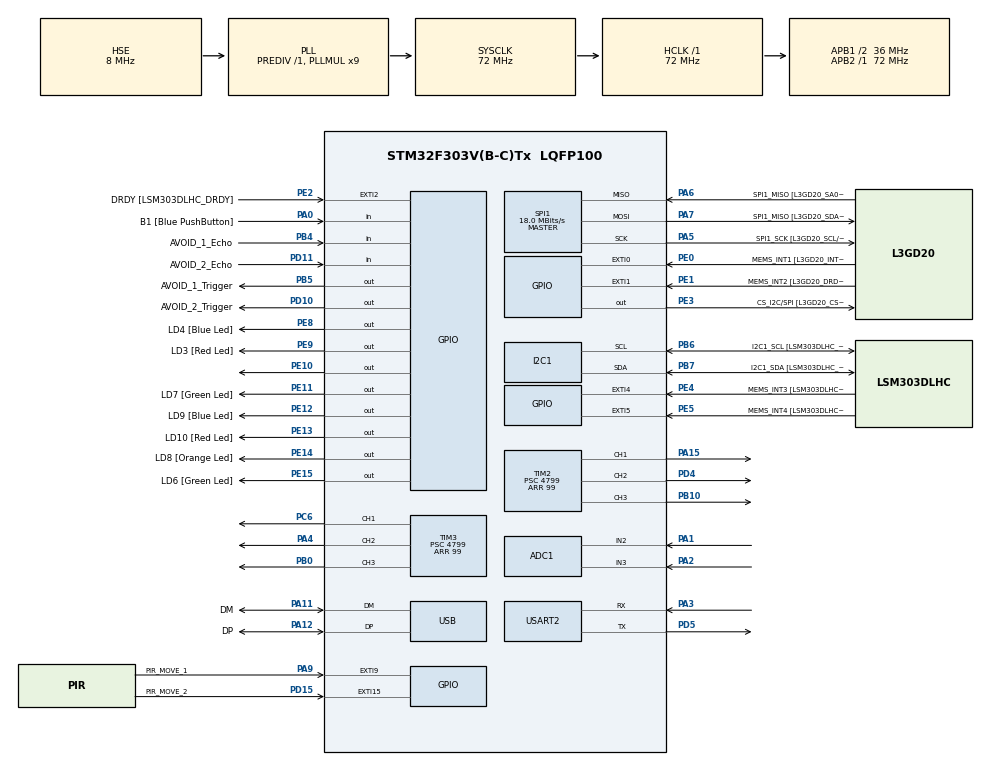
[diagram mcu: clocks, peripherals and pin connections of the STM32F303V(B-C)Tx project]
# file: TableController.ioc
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ADC1.Channel-1\#ChannelRegularConversion=ADC_CHANNEL_2
ADC1.NbrOfConversionFlag=1
ADC1.Offset-1\#ChannelRegularConversion=0
ADC1.OffsetNumber-1\#ChannelRegularConversion=ADC_OFFSET_NONE
ADC1.Rank-1\#ChannelRegularConversion=1
ADC1.SamplingTime-1\#ChannelRegularConversion=ADC_SAMPLETIME_601CYCLES_5
ADC1.master=1
FREERTOS.BinarySemaphores01=diffRxData,Dynamic,NULL;dataBufferSemaphore,Dynamic,NULL
FREERTOS.Mutexes01=diffBufferRead,Dynamic,NULL;AvoidDistance1,Dynamic,NULL;AvoidDistance2,Dynamic,NULL;pirTime1,Dynamic,NULL;pirTime2,Dynamic,NULL;uartTransmit,Dynamic,NULL
FREERTOS.Tasks01=defaultTask,24,128,StartDefaultTask,Default,NULL,Dynamic,NULL,NULL;uartRxDiff,40,200,uartRxDiff_f,Default,NULL,Dynamic,NULL,NULL;AvoidPIRHandler,40,128,AvoidPIRHandler_f,Default,NULL,Dynamic,NULL,NULL
I2C1.Timing-I2C=0x2000090E
Mcu.Family=STM32F3
Mcu.Name=STM32F303V(B-C)Tx
Mcu.Package=LQFP100
NVIC.EXTI15_10_IRQn=true\:5\:0\:false\:false\:true\:true\:true\:true\:true
NVIC.EXTI9_5_IRQn=true\:5\:0\:false\:false\:true\:true\:true\:true\:true
NVIC.PriorityGroup=NVIC_PRIORITYGROUP_4
NVIC.TIM1_UP_TIM16_IRQn=true\:15\:0\:false\:false\:true\:false\:false\:true\:true
NVIC.TimeBase=TIM1_UP_TIM16_IRQn
NVIC.TimeBaseIP=TIM1
NVIC.USART2_IRQn=true\:5\:0\:false\:false\:true\:true\:true\:true\:true
PA0.GPIO_Label=B1 [Blue PushButton]
PA0.Signal=GPIO_Input
PA1.Mode=IN2-Single-Ended
PA1.Signal=ADC1_IN2
PA11.GPIO_Label=DM
PA11.Mode=Device
PA11.Signal=USB_DM
PA12.GPIO_Label=DP
PA12.Mode=Device
PA12.Signal=USB_DP
PA13.GPIO_Label=SWDIO
PA13.Mode=Serial_Wire
PA13.Signal=SYS_JTMS-SWDIO
PA14.GPIO_Label=SWCLK
PA14.Mode=Serial_Wire
PA14.Signal=SYS_JTCK-SWCLK
PA15.Signal=S_TIM2_CH1_ETR
PA2.Mode=IN3-Single-Ended
PA2.Signal=ADC1_IN3
PA3.Mode=Asynchronous
PA3.Signal=USART2_RX
PA4.Signal=S_TIM3_CH2
PA5.GPIO_Label=SPI1_SCK [L3GD20_SCL/SPC]
PA5.Mode=Full_Duplex_Master
PA5.Signal=SPI1_SCK
PA6.GPIO_Label=SPI1_MISO [L3GD20_SA0/SDO]
PA6.Mode=Full_Duplex_Master
PA6.Signal=SPI1_MISO
PA7.GPIO_Label=SPI1_MISO [L3GD20_SDA/SDI/SDO]
PA7.Mode=Full_Duplex_Master
PA7.Signal=SPI1_MOSI
PA9.GPIO_Label=PIR_MOVE_1
PA9.GPIO_PuPd=GPIO_PULLDOWN
PA9.Signal=GPXTI9
PB0.Signal=S_TIM3_CH3
PB10.Signal=S_TIM2_CH3
PB3.GPIO_Label=SWO
PB3.Signal=SYS_JTDO-TRACESWO
PB4.GPIO_Label=AVOID_1_Echo
PB4.Signal=GPIO_Input
PB5.GPIO_Label=AVOID_1_Trigger
PB5.Signal=GPIO_Output
PB6.GPIO_Label=I2C1_SCL [LSM303DLHC_SCL]
PB6.GPIO_Pu=GPIO_PULLUP
PB6.Mode=I2C
PB6.Signal=I2C1_SCL
PB7.GPIO_Label=I2C1_SDA [LSM303DLHC_SDA]
PB7.GPIO_Pu=GPIO_PULLUP
PB7.Mode=I2C
PB7.Signal=I2C1_SDA
PC14-OSC32_IN.GPIO_Label=OSC32_IN
PC14-OSC32_IN.Signal=RCC_OSC32_IN
PC15-OSC32_OUT.GPIO_Label=OSC32_OUT
PC15-OSC32_OUT.Signal=RCC_OSC32_OUT
PC6.Signal=S_TIM3_CH1
PD10.GPIO_Label=AVOID_2_Trigger
PD10.Signal=GPIO_Output
PD11.GPIO_Label=AVOID_2_Echo
PD11.Signal=GPIO_Input
PD15.GPIO_Label=PIR_MOVE_2
PD15.GPIO_PuPd=GPIO_PULLDOWN
PD15.Signal=GPXTI15
PD4.Signal=S_TIM2_CH2
PD5.Mode=Asynchronous
PD5.Signal=USART2_TX
PE0.GPIO_Label=MEMS_INT1 [L3GD20_INT1]
PE0.GPIO_ModeDefaultEXTI=GPIO_MODE_EVT_RISING
PE0.Signal=GPXTI0
PE1.GPIO_Label=MEMS_INT2 [L3GD20_DRDY/INT2]
PE1.GPIO_ModeDefaultEXTI=GPIO_MODE_EVT_RISING
PE1.Signal=GPXTI1
PE10.Signal=GPIO_Output
PE11.GPIO_Label=LD7 [Green Led]
PE11.Signal=GPIO_Output
PE12.GPIO_Label=LD9 [Blue Led]
PE12.Signal=GPIO_Output
PE13.GPIO_Label=LD10 [Red Led]
PE13.Signal=GPIO_Output
PE14.GPIO_Label=LD8 [Orange Led]
PE14.Signal=GPIO_Output
PE15.GPIO_Label=LD6 [Green Led]
PE15.Signal=GPIO_Output
PE2.GPIO_Label=DRDY [LSM303DLHC_DRDY]
PE2.GPIO_ModeDefaultEXTI=GPIO_MODE_EVT_RISING
PE2.Signal=GPXTI2
PE3.GPIO_Label=CS_I2C/SPI [L3GD20_CS_I2C/SPI]
PE3.Signal=GPIO_Output
PE4.GPIO_Label=MEMS_INT3 [LSM303DLHC_INT1]
PE4.GPIO_ModeDefaultEXTI=GPIO_MODE_EVT_RISING
PE4.Signal=GPXTI4
PE5.GPIO_Label=MEMS_INT4 [LSM303DLHC_INT2]
PE5.GPIO_ModeDefaultEXTI=GPIO_MODE_EVT_RISING
PE5.Signal=GPXTI5
PE8.GPIO_Label=LD4 [Blue Led]
PE8.Signal=GPIO_Output
PE9.GPIO_Label=LD3 [Red Led]
PE9.Signal=GPIO_Output
PF0-OSC_IN.GPIO_Label=OSC_IN
PF0-OSC_IN.Mode=HSE-External-Clock-Source
PF0-OSC_IN.Signal=RCC_OSC_IN
PF1-OSC_OUT.GPIO_Label=OSC_OUT
PF1-OSC_OUT.Signal=RCC_OSC_OUT
ProjectManager.HeapSize=0x200
ProjectManager.StackSize=0x400
ProjectManager.TargetToolchain=STM32CubeIDE
RCC.AHBFreq_Value=72000000
RCC.APB1CLKDivider=RCC_HCLK_DIV2
RCC.APB1Freq_Value=36000000
RCC.APB1TimFreq_Value=72000000
RCC.APB2Freq_Value=72000000
RCC.APB2TimFreq_Value=72000000
RCC.CortexFreq_Value=72000000
RCC.HCLKFreq_Value=72000000
RCC.HSE_VALUE=8000000
RCC.HSI_VALUE=8000000
RCC.LSE_VALUE=32768
RCC.PLLMUL=RCC_PLL_MUL9
RCC.PRESCALERUSB=RCC_USBCLKSOURCE_PLL_DIV1_5
RCC.SYSCLKFreq_VALUE=72000000
RCC.SYSCLKSourceVirtual=RCC_SYSCLKSOURCE_PLLCLK
RCC.USBFreq_Value=48000000
SH.S_TIM2_CH1_ETR.0=TIM2_CH1,PWM Generation1 CH1
SH.S_TIM2_CH2.0=TIM2_CH2,PWM Generation2 CH2
SH.S_TIM2_CH3.0=TIM2_CH3,PWM Generation3 CH3
SH.S_TIM3_CH1.0=TIM3_CH1,PWM Generation1 CH1
SH.S_TIM3_CH2.0=TIM3_CH2,PWM Generation2 CH2
SH.S_TIM3_CH3.0=TIM3_CH3,PWM Generation3 CH3
SPI1.BaudRatePrescaler=SPI_BAUDRATEPRESCALER_4
SPI1.BaudRatePrescaler-Full_Duplex_Master=SPI_BAUDRATEPRESCALER_2
SPI1.CalculateBaudRate=18.0 MBits/s
SPI1.CalculateBaudRate-Full_Duplex_Master=24.0 MBits/s
SPI1.Direction=SPI_DIRECTION_2LINES
SPI1.Mode=SPI_MODE_MASTER
SPI1.Mode-Full_Duplex_Master=SPI_MODE_MASTER
SPI1.VirtualType=VM_MASTER
TIM2.Channel-PWM\ Generation1\ CH1=TIM_CHANNEL_1
TIM2.Channel-PWM\ Generation2\ CH2=TIM_CHANNEL_2
TIM2.Channel-PWM\ Generation3\ CH3=TIM_CHANNEL_3
TIM2.Period=99
TIM2.Prescaler=4799
TIM3.Channel-PWM\ Generation1\ CH1=TIM_CHANNEL_1
TIM3.Channel-PWM\ Generation2\ CH2=TIM_CHANNEL_2
TIM3.Channel-PWM\ Generation3\ CH3=TIM_CHANNEL_3
TIM3.Period=99
TIM3.Prescaler=4799
TIM4.Period=65535
TIM4.Prescaler=71
TIM8.Period=9999
TIM8.Prescaler=7199
USART2.VirtualMode-Asynchronous=VM_ASYNC
VP_FREERTOS_VS_CMSIS_V2.Mode=CMSIS_V2
VP_SYS_VS_tim1.Mode=TIM1
VP_TIM4_VS_ClockSourceINT.Mode=Internal
VP_TIM8_VS_ClockSourceINT.Mode=Internal
board=STM32F3DISCOVERY

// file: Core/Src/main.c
/* USER CODE BEGIN Header */
/**
  ******************************************************************************
  * @file           : main.c
  * @brief          : Main program body
  ******************************************************************************
  * @attention
  *
  * Copyright (c) 2024 STMicroelectronics.
  * All rights reserved.
  *
  * This software is licensed under terms that can be found in the LICENSE file
  * in the root directory of this software component.
  * If no LICENSE file comes with this software, it is provided AS-IS.
  *
  ******************************************************************************
  */
/* USER CODE END Header */
#include "main.h"
#include "cmsis_os.h"

/* USER CODE BEGIN Includes */
#include "Callbacks.h"

#include "Handler.h"
/* USER CODE END Includes */

/* USER CODE BEGIN PM */
uint32_t rawAVOID[2];
uint32_t rawAVOIDWindow[2][10];

uint8_t rawAVOIDWindow_idx = 0;
uint8_t maxSeats = 2;

uint32_t pirTime[2];
/* USER CODE END PM */

ADC_HandleTypeDef hadc1;

I2C_HandleTypeDef hi2c1;

SPI_HandleTypeDef hspi1;

TIM_HandleTypeDef htim2;
TIM_HandleTypeDef htim3;
TIM_HandleTypeDef htim4;
TIM_HandleTypeDef htim8;

UART_HandleTypeDef huart2;

PCD_HandleTypeDef hpcd_USB_FS;

/* Definitions for defaultTask */
osThreadId_t defaultTaskHandle;
const osThreadAttr_t defaultTask_attributes = {
  .name = "defaultTask",
  .stack_size = 128 * 4,
  .priority = (osPriority_t) osPriorityNormal,
};
/* Definitions for uartRxDiff */
osThreadId_t uartRxDiffHandle;
const osThreadAttr_t uartRxDiff_attributes = {
  .name = "uartRxDiff",
  .stack_size = 200 * 4,
  .priority = (osPriority_t) osPriorityHigh,
};
/* Definitions for AvoidPIRHandler */
osThreadId_t AvoidPIRHandlerHandle;
const osThreadAttr_t AvoidPIRHandler_attributes = {
  .name = "AvoidPIRHandler",
  .stack_size = 128 * 4,
  .priority = (osPriority_t) osPriorityHigh,
};
/* Definitions for diffBufferRead */
osMutexId_t diffBufferReadHandle;
const osMutexAttr_t diffBufferRead_attributes = {
  .name = "diffBufferRead"
};
/* Definitions for AvoidDistance1 */
osMutexId_t AvoidDistance1Handle;
const osMutexAttr_t AvoidDistance1_attributes = {
  .name = "AvoidDistance1"
};
/* Definitions for AvoidDistance2 */
osMutexId_t AvoidDistance2Handle;
const osMutexAttr_t AvoidDistance2_attributes = {
  .name = "AvoidDistance2"
};
/* Definitions for pirTime1 */
osMutexId_t pirTime1Handle;
const osMutexAttr_t pirTime1_attributes = {
  .name = "pirTime1"
};
/* Definitions for pirTime2 */
osMutexId_t pirTime2Handle;
const osMutexAttr_t pirTime2_attributes = {
  .name = "pirTime2"
};
/* Definitions for uartTransmit */
osMutexId_t uartTransmitHandle;
const osMutexAttr_t uartTransmit_attributes = {
  .name = "uartTransmit"
};
/* Definitions for diffRxData */
osSemaphoreId_t diffRxDataHandle;
const osSemaphoreAttr_t diffRxData_attributes = {
  .name = "diffRxData"
};
/* Definitions for dataBufferSemaphore */
osSemaphoreId_t dataBufferSemaphoreHandle;
const osSemaphoreAttr_t dataBufferSemaphore_attributes = {
  .name = "dataBufferSemaphore"
};

void SystemClock_Config(void);
static void MX_GPIO_Init(void);
static void MX_I2C1_Init(void);
static void MX_SPI1_Init(void);
static void MX_USB_PCD_Init(void);
static void MX_USART2_UART_Init(void);
static void MX_TIM2_Init(void);
static void MX_TIM3_Init(void);
static void MX_ADC1_Init(void);
static void MX_TIM4_Init(void);
static void MX_TIM8_Init(void);
void StartDefaultTask(void *argument);
void uartRxDiff_f(void *argument);
void AvoidPIRHandler_f(void *argument);

/* USER CODE BEGIN 0 */
char data[150];
char data_c;
uint8_t data_c_idx = 0;

void setADC1Configs(uint8_t channel) {
	ADC_ChannelConfTypeDef sConfig;

	switch (channel) {
		case 2:
			sConfig.Channel = ADC_CHANNEL_2; // ADC Channel
			sConfig.Rank = 1; //Rank (1-16) Rank: The rank in the regular group sequencer.
			sConfig.SamplingTime = ADC_SAMPLETIME_601CYCLES_5; //ADC Sampling Times
			sConfig.Offset = 0; // Reserved
			break;
		case 3:
			sConfig.Channel = ADC_CHANNEL_3;
			sConfig.Rank = 1;
			sConfig.SamplingTime = ADC_SAMPLETIME_601CYCLES_5;
			sConfig.Offset = 0;
			break;
	}

	if (HAL_ADC_ConfigChannel(&hadc1, &sConfig) == HAL_OK) {
		HAL_ADC_Start(&hadc1);
		HAL_ADC_PollForConversion(&hadc1, 1000);
	}

}

int compare(const void* a, const void* b) {
    int A = *((int*)a);
    int B = *((int*)b);
    return A - B;
}

void selectionSort(int arr[], int n) {
    int i, j, minIndex, tmp;

    // One by one move boundary of unsorted subarray
    for (i = 0; i < n - 1; i++) {
        // Find the minimum element in unsorted array
        minIndex = i;
        for (j = i + 1; j < n; j++)
            if (arr[j] < arr[minIndex])
                minIndex = j;

        // Swap the found minimum element with the first element of the unsorted array
        tmp = arr[minIndex];
        arr[minIndex] = arr[i];
        arr[i] = tmp;
    }
}

double getMedian(int arr[], int n) {
    // Sorting the array
	selectionSort(arr, n);

    // If size of the array is even
    if (n % 2 != 0)
        return (double)arr[n/2];

    // If size of the array is odd
    return (double)(arr[(n-1)/2] + arr[n/2])/2.0;
}

/* USER CODE END 0 */

int main(void)
{

  /* MCU Configuration--------------------------------------------------------*/

  /* Reset of all peripherals, Initializes the Flash interface and the Systick. */
  HAL_Init();

  /* Configure the system clock */
  SystemClock_Config();

  /* Initialize all configured peripherals */
  MX_GPIO_Init();
  MX_I2C1_Init();
  MX_SPI1_Init();
  MX_USB_PCD_Init();
  MX_USART2_UART_Init();
  MX_TIM2_Init();
  MX_TIM3_Init();
  MX_ADC1_Init();
  MX_TIM4_Init();
  MX_TIM8_Init();
  /* USER CODE BEGIN 2 */
  HAL_UART_Receive_IT(&huart2, &data_c, 1);

//  HAL_ADC_Start(&hadc1);
//  HAL_ADC_Start_DMA(&hadc1, rawAVOID, 2);
//  setADC1Configs(2);
//  HAL_ADC_Start(&hadc1);
//
//  setADC1Configs(3);
//  HAL_ADC_Start(&hadc1);
//  setADC1Configs();
  HAL_TIM_Base_Start(&htim4);
  HAL_TIM_Base_Start(&htim8);

  HAL_GPIO_WritePin(GPIOB, GPIO_PIN_5, 0);

  HAL_TIM_PWM_Start(&htim2, TIM_CHANNEL_1);
  HAL_TIM_PWM_Start(&htim2, TIM_CHANNEL_2);
  HAL_TIM_PWM_Start(&htim2, TIM_CHANNEL_3);

  HAL_TIM_PWM_Start(&htim3, TIM_CHANNEL_1);
  HAL_TIM_PWM_Start(&htim3, TIM_CHANNEL_2);
  HAL_TIM_PWM_Start(&htim3, TIM_CHANNEL_3);

  __HAL_TIM_SET_COMPARE(&htim2, TIM_CHANNEL_1, 0);
  __HAL_TIM_SET_COMPARE(&htim2, TIM_CHANNEL_2, 0);
  __HAL_TIM_SET_COMPARE(&htim2, TIM_CHANNEL_3, 0);

  __HAL_TIM_SET_COMPARE(&htim3, TIM_CHANNEL_1, 0);
  __HAL_TIM_SET_COMPARE(&htim3, TIM_CHANNEL_2, 0);
  __HAL_TIM_SET_COMPARE(&htim3, TIM_CHANNEL_3, 0);
  /* USER CODE END 2 */

  /* Init scheduler */
  osKernelInitialize();
  /* Create the mutex(es) */
  /* creation of diffBufferRead */
  diffBufferReadHandle = osMutexNew(&diffBufferRead_attributes);

  /* creation of AvoidDistance1 */
  AvoidDistance1Handle = osMutexNew(&AvoidDistance1_attributes);

  /* creation of AvoidDistance2 */
  AvoidDistance2Handle = osMutexNew(&AvoidDistance2_attributes);

  /* creation of pirTime1 */
  pirTime1Handle = osMutexNew(&pirTime1_attributes);

  /* creation of pirTime2 */
  pirTime2Handle = osMutexNew(&pirTime2_attributes);

  /* creation of uartTransmit */
  uartTransmitHandle = osMutexNew(&uartTransmit_attributes);

  /* Create the semaphores(s) */
  /* creation of diffRxData */
  diffRxDataHandle = osSemaphoreNew(1, 1, &diffRxData_attributes);

  /* creation of dataBufferSemaphore */
  dataBufferSemaphoreHandle = osSemaphoreNew(1, 1, &dataBufferSemaphore_attributes);

  /* Create the thread(s) */
  /* creation of defaultTask */
  defaultTaskHandle = osThreadNew(StartDefaultTask, NULL, &defaultTask_attributes);

  /* creation of uartRxDiff */
  uartRxDiffHandle = osThreadNew(uartRxDiff_f, NULL, &uartRxDiff_attributes);

  /* creation of AvoidPIRHandler */
  AvoidPIRHandlerHandle = osThreadNew(AvoidPIRHandler_f, NULL, &AvoidPIRHandler_attributes);

  /* Start scheduler */
  osKernelStart();

  /* We should never get here as control is now taken by the scheduler */
  /* Infinite loop */
  while (1)
  {

  }
}

void SystemClock_Config(void)
{
  RCC_OscInitTypeDef RCC_OscInitStruct = {0};
  RCC_ClkInitTypeDef RCC_ClkInitStruct = {0};
  RCC_PeriphCLKInitTypeDef PeriphClkInit = {0};

  /** Initializes the RCC Oscillators according to the specified parameters
  * in the RCC_OscInitTypeDef structure.
  */
  RCC_OscInitStruct.OscillatorType = RCC_OSCILLATORTYPE_HSI|RCC_OSCILLATORTYPE_HSE;
  RCC_OscInitStruct.HSEState = RCC_HSE_BYPASS;
  RCC_OscInitStruct.HSEPredivValue = RCC_HSE_PREDIV_DIV1;
  RCC_OscInitStruct.HSIState = RCC_HSI_ON;
  RCC_OscInitStruct.HSICalibrationValue = RCC_HSICALIBRATION_DEFAULT;
  RCC_OscInitStruct.PLL.PLLState = RCC_PLL_ON;
  RCC_OscInitStruct.PLL.PLLSource = RCC_PLLSOURCE_HSE;
  RCC_OscInitStruct.PLL.PLLMUL = RCC_PLL_MUL9;
  if (HAL_RCC_OscConfig(&RCC_OscInitStruct) != HAL_OK)
  {
    Error_Handler();
  }

  /** Initializes the CPU, AHB and APB buses clocks
  */
  RCC_ClkInitStruct.ClockType = RCC_CLOCKTYPE_HCLK|RCC_CLOCKTYPE_SYSCLK
                              |RCC_CLOCKTYPE_PCLK1|RCC_CLOCKTYPE_PCLK2;
  RCC_ClkInitStruct.SYSCLKSource = RCC_SYSCLKSOURCE_PLLCLK;
  RCC_ClkInitStruct.AHBCLKDivider = RCC_SYSCLK_DIV1;
  RCC_ClkInitStruct.APB1CLKDivider = RCC_HCLK_DIV2;
  RCC_ClkInitStruct.APB2CLKDivider = RCC_HCLK_DIV1;

  if (HAL_RCC_ClockConfig(&RCC_ClkInitStruct, FLASH_LATENCY_2) != HAL_OK)
  {
    Error_Handler();
  }
  PeriphClkInit.PeriphClockSelection = RCC_PERIPHCLK_USB|RCC_PERIPHCLK_USART2
                              |RCC_PERIPHCLK_I2C1|RCC_PERIPHCLK_TIM8
                              |RCC_PERIPHCLK_ADC12;
  PeriphClkInit.Usart2ClockSelection = RCC_USART2CLKSOURCE_PCLK1;
  PeriphClkInit.Adc12ClockSelection = RCC_ADC12PLLCLK_DIV1;
  PeriphClkInit.I2c1ClockSelection = RCC_I2C1CLKSOURCE_HSI;
  PeriphClkInit.USBClockSelection = RCC_USBCLKSOURCE_PLL_DIV1_5;
  PeriphClkInit.Tim8ClockSelection = RCC_TIM8CLK_HCLK;
  if (HAL_RCCEx_PeriphCLKConfig(&PeriphClkInit) != HAL_OK)
  {
    Error_Handler();
  }
}

static void MX_ADC1_Init(void)
{

  ADC_MultiModeTypeDef multimode = {0};
  ADC_ChannelConfTypeDef sConfig = {0};

  /** Common config
  */
  hadc1.Instance = ADC1;
  hadc1.Init.ClockPrescaler = ADC_CLOCK_ASYNC_DIV1;
  hadc1.Init.Resolution = ADC_RESOLUTION_12B;
  hadc1.Init.ScanConvMode = ADC_SCAN_DISABLE;
  hadc1.Init.ContinuousConvMode = DISABLE;
  hadc1.Init.DiscontinuousConvMode = DISABLE;
  hadc1.Init.ExternalTrigConvEdge = ADC_EXTERNALTRIGCONVEDGE_NONE;
  hadc1.Init.ExternalTrigConv = ADC_SOFTWARE_START;
  hadc1.Init.DataAlign = ADC_DATAALIGN_RIGHT;
  hadc1.Init.NbrOfConversion = 1;
  hadc1.Init.DMAContinuousRequests = DISABLE;
  hadc1.Init.EOCSelection = ADC_EOC_SINGLE_CONV;
  hadc1.Init.LowPowerAutoWait = DISABLE;
  hadc1.Init.Overrun = ADC_OVR_DATA_OVERWRITTEN;
  if (HAL_ADC_Init(&hadc1) != HAL_OK)
  {
    Error_Handler();
  }

  /** Configure the ADC multi-mode
  */
  multimode.Mode = ADC_MODE_INDEPENDENT;
  if (HAL_ADCEx_MultiModeConfigChannel(&hadc1, &multimode) != HAL_OK)
  {
    Error_Handler();
  }

  /** Configure Regular Channel
  */
  sConfig.Channel = ADC_CHANNEL_2;
  sConfig.Rank = ADC_REGULAR_RANK_1;
  sConfig.SingleDiff = ADC_SINGLE_ENDED;
  sConfig.SamplingTime = ADC_SAMPLETIME_601CYCLES_5;
  sConfig.OffsetNumber = ADC_OFFSET_NONE;
  sConfig.Offset = 0;
  if (HAL_ADC_ConfigChannel(&hadc1, &sConfig) != HAL_OK)
  {
    Error_Handler();
  }

}

static void MX_I2C1_Init(void)
{

  hi2c1.Instance = I2C1;
  hi2c1.Init.Timing = 0x2000090E;
  hi2c1.Init.OwnAddress1 = 0;
  hi2c1.Init.AddressingMode = I2C_ADDRESSINGMODE_7BIT;
  hi2c1.Init.DualAddressMode = I2C_DUALADDRESS_DISABLE;
  hi2c1.Init.OwnAddress2 = 0;
  hi2c1.Init.OwnAddress2Masks = I2C_OA2_NOMASK;
  hi2c1.Init.GeneralCallMode = I2C_GENERALCALL_DISABLE;
  hi2c1.Init.NoStretchMode = I2C_NOSTRETCH_DISABLE;
  if (HAL_I2C_Init(&hi2c1) != HAL_OK)
  {
    Error_Handler();
  }

  /** Configure Analogue filter
  */
  if (HAL_I2CEx_ConfigAnalogFilter(&hi2c1, I2C_ANALOGFILTER_ENABLE) != HAL_OK)
  {
    Error_Handler();
  }

  /** Configure Digital filter
  */
  if (HAL_I2CEx_ConfigDigitalFilter(&hi2c1, 0) != HAL_OK)
  {
    Error_Handler();
  }

}

static void MX_SPI1_Init(void)
{

  /* SPI1 parameter configuration*/
  hspi1.Instance = SPI1;
  hspi1.Init.Mode = SPI_MODE_MASTER;
  hspi1.Init.Direction = SPI_DIRECTION_2LINES;
  hspi1.Init.DataSize = SPI_DATASIZE_4BIT;
  hspi1.Init.CLKPolarity = SPI_POLARITY_LOW;
  hspi1.Init.CLKPhase = SPI_PHASE_1EDGE;
  hspi1.Init.NSS = SPI_NSS_SOFT;
  hspi1.Init.BaudRatePrescaler = SPI_BAUDRATEPRESCALER_4;
  hspi1.Init.FirstBit = SPI_FIRSTBIT_MSB;
  hspi1.Init.TIMode = SPI_TIMODE_DISABLE;
  hspi1.Init.CRCCalculation = SPI_CRCCALCULATION_DISABLE;
  hspi1.Init.CRCPolynomial = 7;
  hspi1.Init.CRCLength = SPI_CRC_LENGTH_DATASIZE;
  hspi1.Init.NSSPMode = SPI_NSS_PULSE_ENABLE;
  if (HAL_SPI_Init(&hspi1) != HAL_OK)
  {
    Error_Handler();
  }

}

static void MX_TIM2_Init(void)
{

  TIM_MasterConfigTypeDef sMasterConfig = {0};
  TIM_OC_InitTypeDef sConfigOC = {0};

  htim2.Instance = TIM2;
  htim2.Init.Prescaler = 4799;
  htim2.Init.CounterMode = TIM_COUNTERMODE_UP;
  htim2.Init.Period = 99;
  htim2.Init.ClockDivision = TIM_CLOCKDIVISION_DIV1;
  htim2.Init.AutoReloadPreload = TIM_AUTORELOAD_PRELOAD_DISABLE;
  if (HAL_TIM_PWM_Init(&htim2) != HAL_OK)
  {
    Error_Handler();
  }
  sMasterConfig.MasterOutputTrigger = TIM_TRGO_RESET;
  sMasterConfig.MasterSlaveMode = TIM_MASTERSLAVEMODE_DISABLE;
  if (HAL_TIMEx_MasterConfigSynchronization(&htim2, &sMasterConfig) != HAL_OK)
  {
    Error_Handler();
  }
  sConfigOC.OCMode = TIM_OCMODE_PWM1;
  sConfigOC.Pulse = 0;
  sConfigOC.OCPolarity = TIM_OCPOLARITY_HIGH;
  sConfigOC.OCFastMode = TIM_OCFAST_DISABLE;
  if (HAL_TIM_PWM_ConfigChannel(&htim2, &sConfigOC, TIM_CHANNEL_1) != HAL_OK)
  {
    Error_Handler();
  }
  if (HAL_TIM_PWM_ConfigChannel(&htim2, &sConfigOC, TIM_CHANNEL_2) != HAL_OK)
  {
    Error_Handler();
  }
  if (HAL_TIM_PWM_ConfigChannel(&htim2, &sConfigOC, TIM_CHANNEL_3) != HAL_OK)
  {
    Error_Handler();
  }
  HAL_TIM_MspPostInit(&htim2);

}

static void MX_TIM3_Init(void)
{

  TIM_MasterConfigTypeDef sMasterConfig = {0};
  TIM_OC_InitTypeDef sConfigOC = {0};

  htim3.Instance = TIM3;
  htim3.Init.Prescaler = 4799;
  htim3.Init.CounterMode = TIM_COUNTERMODE_UP;
  htim3.Init.Period = 99;
  htim3.Init.ClockDivision = TIM_CLOCKDIVISION_DIV1;
  htim3.Init.AutoReloadPreload = TIM_AUTORELOAD_PRELOAD_DISABLE;
  if (HAL_TIM_PWM_Init(&htim3) != HAL_OK)
  {
    Error_Handler();
  }
  sMasterConfig.MasterOutputTrigger = TIM_TRGO_RESET;
  sMasterConfig.MasterSlaveMode = TIM_MASTERSLAVEMODE_DISABLE;
  if (HAL_TIMEx_MasterConfigSynchronization(&htim3, &sMasterConfig) != HAL_OK)
  {
    Error_Handler();
  }
  sConfigOC.OCMode = TIM_OCMODE_PWM1;
  sConfigOC.Pulse = 0;
  sConfigOC.OCPolarity = TIM_OCPOLARITY_HIGH;
  sConfigOC.OCFastMode = TIM_OCFAST_DISABLE;
  if (HAL_TIM_PWM_ConfigChannel(&htim3, &sConfigOC, TIM_CHANNEL_1) != HAL_OK)
  {
    Error_Handler();
  }
  if (HAL_TIM_PWM_ConfigChannel(&htim3, &sConfigOC, TIM_CHANNEL_2) != HAL_OK)
  {
    Error_Handler();
  }
  if (HAL_TIM_PWM_ConfigChannel(&htim3, &sConfigOC, TIM_CHANNEL_3) != HAL_OK)
  {
    Error_Handler();
  }
  HAL_TIM_MspPostInit(&htim3);

}

static void MX_TIM4_Init(void)
{

  TIM_ClockConfigTypeDef sClockSourceConfig = {0};
  TIM_MasterConfigTypeDef sMasterConfig = {0};

  htim4.Instance = TIM4;
  htim4.Init.Prescaler = 71;
  htim4.Init.CounterMode = TIM_COUNTERMODE_UP;
  htim4.Init.Period = 65535;
  htim4.Init.ClockDivision = TIM_CLOCKDIVISION_DIV1;
  htim4.Init.AutoReloadPreload = TIM_AUTORELOAD_PRELOAD_DISABLE;
  if (HAL_TIM_Base_Init(&htim4) != HAL_OK)
  {
    Error_Handler();
  }
  sClockSourceConfig.ClockSource = TIM_CLOCKSOURCE_INTERNAL;
  if (HAL_TIM_ConfigClockSource(&htim4, &sClockSourceConfig) != HAL_OK)
  {
    Error_Handler();
  }
  sMasterConfig.MasterOutputTrigger = TIM_TRGO_RESET;
  sMasterConfig.MasterSlaveMode = TIM_MASTERSLAVEMODE_DISABLE;
  if (HAL_TIMEx_MasterConfigSynchronization(&htim4, &sMasterConfig) != HAL_OK)
  {
    Error_Handler();
  }

}

static void MX_TIM8_Init(void)
{

  TIM_ClockConfigTypeDef sClockSourceConfig = {0};
  TIM_MasterConfigTypeDef sMasterConfig = {0};

  htim8.Instance = TIM8;
  htim8.Init.Prescaler = 7199;
  htim8.Init.CounterMode = TIM_COUNTERMODE_UP;
  htim8.Init.Period = 9999;
  htim8.Init.ClockDivision = TIM_CLOCKDIVISION_DIV1;
  htim8.Init.RepetitionCounter = 0;
  htim8.Init.AutoReloadPreload = TIM_AUTORELOAD_PRELOAD_DISABLE;
  if (HAL_TIM_Base_Init(&htim8) != HAL_OK)
  {
    Error_Handler();
  }
  sClockSourceConfig.ClockSource = TIM_CLOCKSOURCE_INTERNAL;
  if (HAL_TIM_ConfigClockSource(&htim8, &sClockSourceConfig) != HAL_OK)
  {
    Error_Handler();
  }
  sMasterConfig.MasterOutputTrigger = TIM_TRGO_RESET;
  sMasterConfig.MasterOutputTrigger2 = TIM_TRGO2_RESET;
  sMasterConfig.MasterSlaveMode = TIM_MASTERSLAVEMODE_DISABLE;
  if (HAL_TIMEx_MasterConfigSynchronization(&htim8, &sMasterConfig) != HAL_OK)
  {
    Error_Handler();
  }

}

static void MX_USART2_UART_Init(void)
{

  huart2.Instance = USART2;
  huart2.Init.BaudRate = 38400;
  huart2.Init.WordLength = UART_WORDLENGTH_8B;
  huart2.Init.StopBits = UART_STOPBITS_1;
  huart2.Init.Parity = UART_PARITY_NONE;
  huart2.Init.Mode = UART_MODE_TX_RX;
  huart2.Init.HwFlowCtl = UART_HWCONTROL_NONE;
  huart2.Init.OverSampling = UART_OVERSAMPLING_16;
  huart2.Init.OneBitSampling = UART_ONE_BIT_SAMPLE_DISABLE;
  huart2.AdvancedInit.AdvFeatureInit = UART_ADVFEATURE_NO_INIT;
  if (HAL_UART_Init(&huart2) != HAL_OK)
  {
    Error_Handler();
  }

}

static void MX_USB_PCD_Init(void)
{

  hpcd_USB_FS.Instance = USB;
  hpcd_USB_FS.Init.dev_endpoints = 8;
  hpcd_USB_FS.Init.speed = PCD_SPEED_FULL;
  hpcd_USB_FS.Init.phy_itface = PCD_PHY_EMBEDDED;
  hpcd_USB_FS.Init.low_power_enable = DISABLE;
  hpcd_USB_FS.Init.battery_charging_enable = DISABLE;
  if (HAL_PCD_Init(&hpcd_USB_FS) != HAL_OK)
  {
    Error_Handler();
  }

}

static void MX_GPIO_Init(void)
{
  GPIO_InitTypeDef GPIO_InitStruct = {0};

  /* GPIO Ports Clock Enable */
  __HAL_RCC_GPIOE_CLK_ENABLE();
  __HAL_RCC_GPIOC_CLK_ENABLE();
  __HAL_RCC_GPIOF_CLK_ENABLE();
  __HAL_RCC_GPIOA_CLK_ENABLE();
  __HAL_RCC_GPIOB_CLK_ENABLE();
  __HAL_RCC_GPIOD_CLK_ENABLE();

  /*Configure GPIO pin Output Level */
  HAL_GPIO_WritePin(GPIOE, CS_I2C_SPI_Pin|LD4_Pin|LD3_Pin|GPIO_PIN_10
                          |LD7_Pin|LD9_Pin|LD10_Pin|LD8_Pin
                          |LD6_Pin, GPIO_PIN_RESET);

  /*Configure GPIO pin Output Level */
  HAL_GPIO_WritePin(AVOID_2_Trigger_GPIO_Port, AVOID_2_Trigger_Pin, GPIO_PIN_RESET);

  /*Configure GPIO pin Output Level */
  HAL_GPIO_WritePin(AVOID_1_Trigger_GPIO_Port, AVOID_1_Trigger_Pin, GPIO_PIN_RESET);

  /*Configure GPIO pins : DRDY_Pin MEMS_INT3_Pin MEMS_INT4_Pin MEMS_INT1_Pin
                           MEMS_INT2_Pin */
  GPIO_InitStruct.Pin = DRDY_Pin|MEMS_INT3_Pin|MEMS_INT4_Pin|MEMS_INT1_Pin
                          |MEMS_INT2_Pin;
  GPIO_InitStruct.Mode = GPIO_MODE_EVT_RISING;
  GPIO_InitStruct.Pull = GPIO_NOPULL;
  HAL_GPIO_Init(GPIOE, &GPIO_InitStruct);

  /*Configure GPIO pins : CS_I2C_SPI_Pin LD4_Pin LD3_Pin PE10
                           LD7_Pin LD9_Pin LD10_Pin LD8_Pin
                           LD6_Pin */
  GPIO_InitStruct.Pin = CS_I2C_SPI_Pin|LD4_Pin|LD3_Pin|GPIO_PIN_10
                          |LD7_Pin|LD9_Pin|LD10_Pin|LD8_Pin
                          |LD6_Pin;
  GPIO_InitStruct.Mode = GPIO_MODE_OUTPUT_PP;
  GPIO_InitStruct.Pull = GPIO_NOPULL;
  GPIO_InitStruct.Speed = GPIO_SPEED_FREQ_LOW;
  HAL_GPIO_Init(GPIOE, &GPIO_InitStruct);

  /*Configure GPIO pin : B1_Pin */
  GPIO_InitStruct.Pin = B1_Pin;
  GPIO_InitStruct.Mode = GPIO_MODE_INPUT;
  GPIO_InitStruct.Pull = GPIO_NOPULL;
  HAL_GPIO_Init(B1_GPIO_Port, &GPIO_InitStruct);

  /*Configure GPIO pin : AVOID_2_Trigger_Pin */
  GPIO_InitStruct.Pin = AVOID_2_Trigger_Pin;
  GPIO_InitStruct.Mode = GPIO_MODE_OUTPUT_PP;
  GPIO_InitStruct.Pull = GPIO_NOPULL;
  GPIO_InitStruct.Speed = GPIO_SPEED_FREQ_LOW;
  HAL_GPIO_Init(AVOID_2_Trigger_GPIO_Port, &GPIO_InitStruct);

  /*Configure GPIO pin : AVOID_2_Echo_Pin */
  GPIO_InitStruct.Pin = AVOID_2_Echo_Pin;
  GPIO_InitStruct.Mode = GPIO_MODE_INPUT;
  GPIO_InitStruct.Pull = GPIO_NOPULL;
  HAL_GPIO_Init(AVOID_2_Echo_GPIO_Port, &GPIO_InitStruct);

  /*Configure GPIO pin : PIR_MOVE_2_Pin */
  GPIO_InitStruct.Pin = PIR_MOVE_2_Pin;
  GPIO_InitStruct.Mode = GPIO_MODE_IT_RISING;
  GPIO_InitStruct.Pull = GPIO_PULLDOWN;
  HAL_GPIO_Init(PIR_MOVE_2_GPIO_Port, &GPIO_InitStruct);

  /*Configure GPIO pin : PIR_MOVE_1_Pin */
  GPIO_InitStruct.Pin = PIR_MOVE_1_Pin;
  GPIO_InitStruct.Mode = GPIO_MODE_IT_RISING;
  GPIO_InitStruct.Pull = GPIO_PULLDOWN;
  HAL_GPIO_Init(PIR_MOVE_1_GPIO_Port, &GPIO_InitStruct);

  /*Configure GPIO pin : AVOID_1_Echo_Pin */
  GPIO_InitStruct.Pin = AVOID_1_Echo_Pin;
  GPIO_InitStruct.Mode = GPIO_MODE_INPUT;
  GPIO_InitStruct.Pull = GPIO_NOPULL;
  HAL_GPIO_Init(AVOID_1_Echo_GPIO_Port, &GPIO_InitStruct);

  /*Configure GPIO pin : AVOID_1_Trigger_Pin */
  GPIO_InitStruct.Pin = AVOID_1_Trigger_Pin;
  GPIO_InitStruct.Mode = GPIO_MODE_OUTPUT_PP;
  GPIO_InitStruct.Pull = GPIO_NOPULL;
  GPIO_InitStruct.Speed = GPIO_SPEED_FREQ_LOW;
  HAL_GPIO_Init(AVOID_1_Trigger_GPIO_Port, &GPIO_InitStruct);

  /* EXTI interrupt init*/
  HAL_NVIC_SetPriority(EXTI9_5_IRQn, 5, 0);
  HAL_NVIC_EnableIRQ(EXTI9_5_IRQn);

  HAL_NVIC_SetPriority(EXTI15_10_IRQn, 5, 0);
  HAL_NVIC_EnableIRQ(EXTI15_10_IRQn);

}

/* USER CODE BEGIN 4 */
int buffer_valid() {
	osMutexAcquire(diffBufferReadHandle, portMAX_DELAY);
	int res = data_c_idx == 0 && strlen(data) > 0;
	osMutexRelease(diffBufferReadHandle);
	return res;
}
/* USER CODE END 4 */

void StartDefaultTask(void *argument)
{
  /* USER CODE BEGIN 5 */
  /* Infinite loop */
  for(;;)
  {
//	if (buffer_valid()) {
//		osMutexAcquire(diffBufferReadHandle, portMAX_DELAY);
//		HAL_UART_Transmit_DMA(&huart2, data, strlen(data));
//		osMutexRelease(diffBufferReadHandle);
//	}
//	osMutexAcquire(mutex_id, timeout)
    osDelay(1);
  }
  /* USER CODE END 5 */
}

void uartRxDiff_f(void *argument)
{
  /* USER CODE BEGIN uartRxDiff_f */
  /* Infinite loop */
  char d[150];
  for(;;)
  {
	osSemaphoreAcquire(diffRxDataHandle, portMAX_DELAY);
//	HAL_GPIO_TogglePin(GPIOE, GPIO_PIN_10);

	addToHandler(data);

//	sprintf(d, "%d", strlen(data));
//	HAL_UART_Transmit_DMA(&huart2, data, (uint16_t)(strlen(data)));
//	HAL_UART_Transmit_DMA(&huart2, &data_c, 1);
//	data[data_c_idx] = data_c;
//	data_c_idx++;
//	if (data_c == '\r') {
//		data_c_idx = 0;
//		data[data_c_idx] = '\0';
////		HAL_UART_Transmit_DMA(&huart2, data, strlen(data));
//	}
    osDelay(1);
  }
  /* USER CODE END uartRxDiff_f */
}

void AvoidPIRHandler_f(void *argument)
{
  /* USER CODE BEGIN AvoidPIRHandler_f */
  /* Infinite loop */

  for(;;)
  {
//	  uint32_t c2Val, c3Val;
//
//	  setADC1Configs(2);
//	  c2Val = HAL_ADC_GetValue(&hadc1);
//
	  /// Getting tof from ultrasonic

	  char tmp[80];

	  //// End of getting tof from ultrasonic

	  HAL_GPIO_TogglePin(GPIOE, GPIO_PIN_8);

	  rawAVOIDWindow[0][rawAVOIDWindow_idx] = getAvoidDistance(1);
	  rawAVOIDWindow[1][rawAVOIDWindow_idx] = getAvoidDistance(2);

	  rawAVOIDWindow_idx++;
//
//	  osMutexAcquire(AvoidDistance1Handle, portMAX_DELAY);
//	  rawAVOID[0] = getAvoidDistance(1);
//	  osMutexRelease(AvoidDistance1Handle);
////
//	  osMutexAcquire(AvoidDistance2Handle, portMAX_DELAY);
//	  rawAVOID[1] = getAvoidDistance(2);
//	  osMutexRelease(AvoidDistance2Handle);
	  if (rawAVOIDWindow_idx == 5) {
		  osMutexAcquire(AvoidDistance1Handle, portMAX_DELAY);
		  rawAVOID[0] = getMedian(rawAVOIDWindow[0], 5);
		  osMutexRelease(AvoidDistance1Handle);

		  osMutexAcquire(AvoidDistance2Handle, portMAX_DELAY);
		  rawAVOID[1] = getMedian(rawAVOIDWindow[1], 5);
		  osMutexRelease(AvoidDistance2Handle);

		  rawAVOIDWindow_idx = 0;
////		  uint8_t s = sprintf(tmp, "1: %d, 2: %d\n", rawAVOID[0], rawAVOID[1]);
////		  HAL_UART_Transmit(&huart2, tmp, s, 250);
	  }

//	  if
//	  rawAVOID[0] = getAvoidDistance(1);
//	  rawAVOID[1] = getAvoidDistance(2);
//
//	  uint8_t s = sprintf(tmp, "%d\n", rawAVOID[0]);

//

//	  osDelay(pdMS_TO_TICKS(50));
//
//	  setADC1Configs(3);
//	  c3Val = HAL_ADC_GetValue(&hadc1);
//
//	  osMutexAcquire(AvoidDistance1Handle, portMAX_DELAY);
//	  rawAVOID[0] = c2Val;
//	  osMutexRelease(AvoidDistance1Handle);
//
//	  osMutexAcquire(AvoidDistance2Handle, portMAX_DELAY);
//	  rawAVOID[1] = c3Val;
//	  osMutexRelease(AvoidDistance2Handle);

//	  char tmp[50];
//	  sprintf(tmp, "ch1:%d,ch2:%d\n", c2Val, c3Val);

//	  HAL_UART_Transmit(&huart2, tmp, strlen(tmp), 250);

	  osDelay(pdMS_TO_TICKS(50));
  }
  /* USER CODE END AvoidPIRHandler_f */
}

void HAL_TIM_PeriodElapsedCallback(TIM_HandleTypeDef *htim)
{
  if (htim->Instance == TIM1) {
    HAL_IncTick();
  }
}

void Error_Handler(void)
{
  __disable_irq();
  while (1)
  {
  }
}
